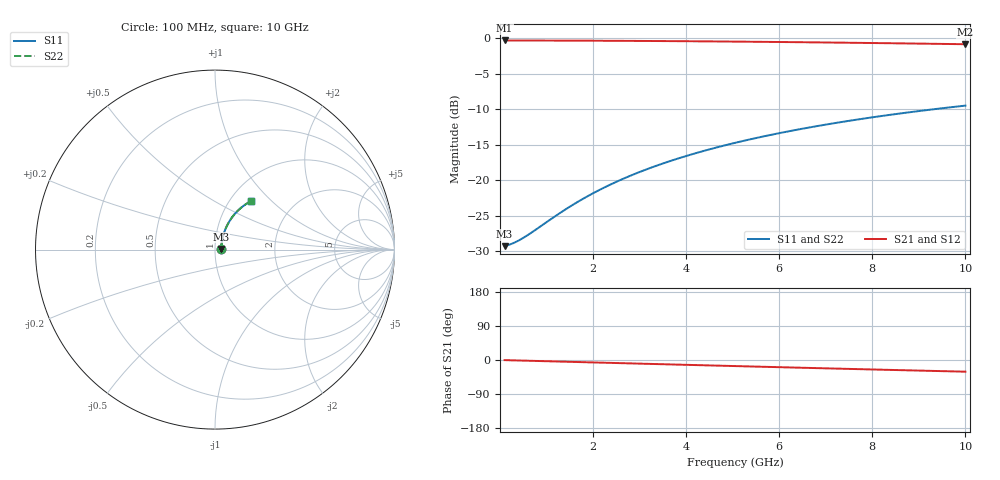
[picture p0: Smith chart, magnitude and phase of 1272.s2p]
# Hz S RI R 50.00
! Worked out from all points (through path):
!   100 points, 100 MHz to 10 GHz, reference 50 ohm
!   highest |S21| = -0.30 dB at 100 MHz (marker M1); lowest = -0.8 dB at 10 GHz (marker M2)
!   group delay of S21, straight-line fit = 8.58 ps
!   lowest |S11| = -29.3 dB at 100 MHz (marker M3), VSWR 1.07, Z = 53.5 + j0.371 ohm
!   |S11| at or under -10 dB: start of sweep to 9.316 GHz
!   |S22| runs from -29.3 to -9.5 dB; largest |S21 - S12| = 0
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1e8  0.0341 0.00347  0.9659 -0.00541  0.9659 -0.00541  0.0341 0.00347
2e8  0.0344 0.00693  0.9656 -0.0108  0.9656 -0.0108  0.0344 0.00693
3e8  0.0347 0.0104  0.9653 -0.0162  0.9653 -0.0162  0.0347 0.0104
5e8  0.0352 0.0173  0.9647 -0.027  0.9647 -0.027  0.0352 0.0173
7e8  0.0359 0.0242  0.964 -0.0378  0.964 -0.0378  0.0359 0.0242
1.3e9  0.0386 0.0447  0.9611 -0.07  0.9611 -0.07  0.0386 0.0447
1.6e9  0.0404 0.0549  0.9591 -0.086  0.9591 -0.086  0.0404 0.0549
1.8e9  0.0418 0.0616  0.9575 -0.0967  0.9575 -0.0967  0.0418 0.0616
2.2e9  0.045 0.075  0.954 -0.1178  0.954 -0.1178  0.045 0.075
2.6e9  0.0488 0.0882  0.9498 -0.1388  0.9498 -0.1388  0.0488 0.0882
3e9  0.0532 0.1011  0.9451 -0.1596  0.9451 -0.1596  0.0532 0.1011
3.4e9  0.0581 0.1138  0.9397 -0.1801  0.9397 -0.1801  0.0581 0.1138
3.8e9  0.0635 0.1263  0.9337 -0.2003  0.9337 -0.2003  0.0635 0.1263
4.2e9  0.0694 0.1384  0.9271 -0.2203  0.9271 -0.2203  0.0694 0.1384
4.6e9  0.0759 0.1502  0.92 -0.2399  0.92 -0.2399  0.0759 0.1502
5.1e9  0.0846 0.1645  0.9103 -0.264  0.9103 -0.264  0.0846 0.1645
5.9e9  0.1 0.1862  0.8932 -0.3013  0.8932 -0.3013  0.1 0.1862
6.7e9  0.117 0.2062  0.8742 -0.337  0.8742 -0.337  0.117 0.2062
7.5e9  0.1354 0.2245  0.8535 -0.371  0.8535 -0.371  0.1354 0.2245
8.4e9  0.1576 0.2428  0.8285 -0.4071  0.8285 -0.4071  0.1576 0.2428
9.2e9  0.1783 0.2571  0.8049 -0.4373  0.8049 -0.4373  0.1783 0.2571
1e10  0.1998 0.2695  0.7803 -0.4655  0.7803 -0.4655  0.1998 0.2695
